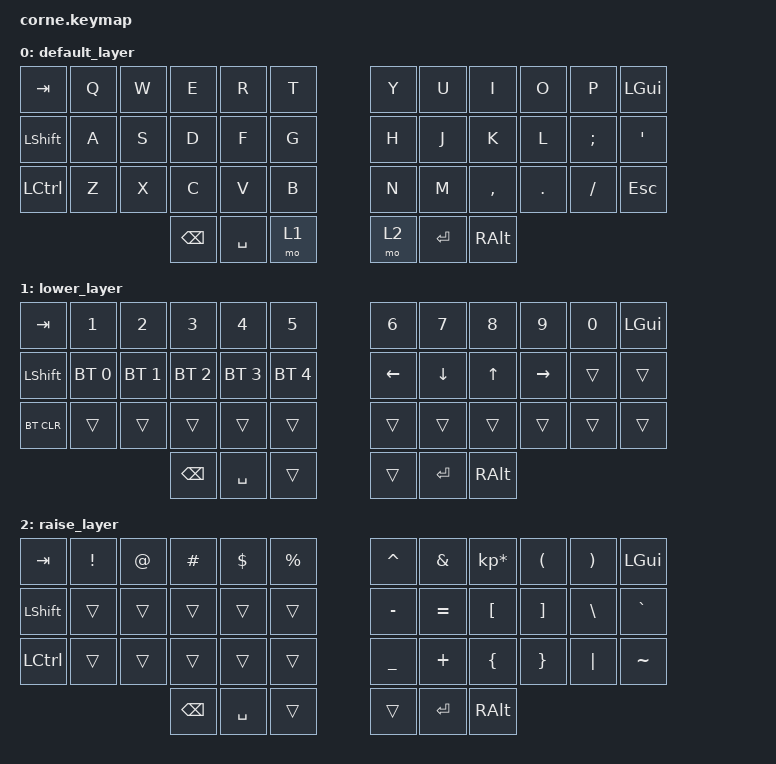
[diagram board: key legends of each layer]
/*
 * Copyright (c) 2020 The ZMK Contributors
 *
 * SPDX-License-Identifier: MIT
 */

#include <behaviors.dtsi>
#include <dt-bindings/zmk/keys.h>
#include <dt-bindings/zmk/bt.h>

/ {
        keymap {
                compatible = "zmk,keymap";

                default_layer {
// -----------------------------------------------------------------------------------------
// |  TAB |  Q  |  W  |  E  |  R  |  T  |   |  Y  |  U   |  I  |  O  |  P  | GUI |
// | SHFT |  A  |  S  |  D  |  F  |  G  |   |  H  |  J   |  K  |  L  |  ;  |  '   |
// | CTRL |  Z  |  X  |  C  |  V  |  B  |   |  N  |  M   |  ,  |  .  |  /  | ESC  |
//                    | BKSP | SPC | LWR |   | RSE | ENT  | ALT |
                        bindings = <
   &kp TAB   &kp Q &kp W &kp E &kp R &kp T   &kp Y &kp U  &kp I     &kp O   &kp P    &kp LGUI
   &kp LSHFT &kp A &kp S &kp D &kp F &kp G   &kp H &kp J  &kp K     &kp L   &kp SEMI &kp SQT
   &kp LCTRL &kp Z &kp X &kp C &kp V &kp B   &kp N &kp M  &kp COMMA &kp DOT &kp FSLH &kp ESC
                  &kp BSPC &kp SPACE &mo 1   &mo 2 &kp RET &kp RALT
                        >;
                };
                lower_layer {
// -----------------------------------------------------------------------------------------
// |  TAB |  1  |  2  |  3  |  4  |  5  |   |  6  |  7  |  8  |  9  |  0  | GUI |
// | BTCLR| BT1 | BT2 | BT3 | BT4 | BT5 |   | LFT | DWN |  UP | RGT |     |      |
// | SHFT |     |     |     |     |     |   |     |     |     |     |     |      |
//                    | BKSP| SPC |     |   |     | ENT | ALT |
                        bindings = <
   &kp TAB    &kp N1       &kp N2       &kp N3       &kp N4       &kp N5         &kp N6   &kp N7   &kp N8 &kp N9    &kp N0 &kp LGUI
   &kp LSHFT &bt BT_SEL 0 &bt BT_SEL 1 &bt BT_SEL 2 &bt BT_SEL 3 &bt BT_SEL 4   &kp LEFT &kp DOWN &kp UP &kp RIGHT &trans &trans
        &bt BT_CLR &trans       &trans       &trans       &trans       &trans         &trans   &trans   &trans &trans    &trans &trans
                          	        &kp BSPC     &kp SPACE    &trans         &trans   &kp RET  &kp RALT
                        >;
                };

                raise_layer {
// -----------------------------------------------------------------------------------------
// |  TAB |  !  |  @  |  #  |  $  |  %  |   |  ^  |  &  |  *  |  (  |  )  | BKSP |
// | CTRL |     |     |     |     |     |   |  -  |  =  |  [  |  ]  |  \  |  `   |
// | SHFT |     |     |     |     |     |   |  _  |  +  |  {  |  }  | "|" |  ~   |
//                    | GUI |     | SPC |   | ENT |     | ALT |
                        bindings = <
   &kp  TAB  &kp EXCL &kp AT &kp HASH &kp DLLR &kp PRCNT   &kp CARET &kp AMPS  &kp KP_MULTIPLY &kp LPAR &kp RPAR &kp LGUI
   &kp LSHFT &trans   &trans &trans   &trans   &trans      &kp MINUS &kp EQUAL &kp LBKT        &kp RBKT &kp BSLH &kp GRAVE
   &kp LCTRL &trans   &trans &trans   &trans   &trans      &kp UNDER &kp PLUS  &kp LBRC        &kp RBRC &kp PIPE &kp TILDE
                    	     &kp BSPC &kp SPACE &trans      &trans &kp RET    &kp RALT
                        >;
                };
        };
};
